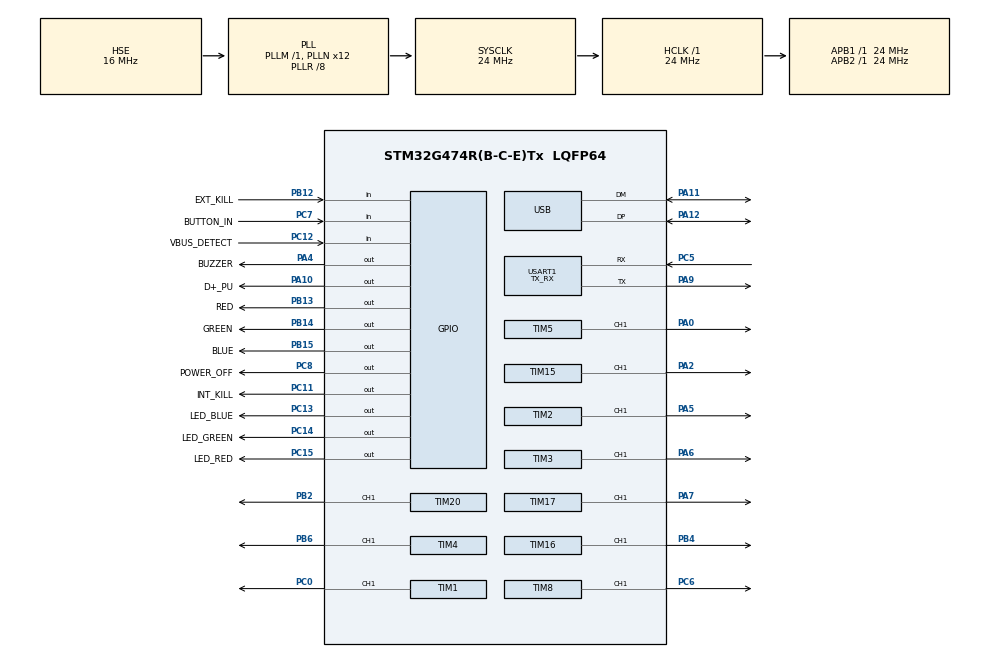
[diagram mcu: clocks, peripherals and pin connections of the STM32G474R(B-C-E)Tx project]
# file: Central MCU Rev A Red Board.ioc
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Mcu.Family=STM32G4
Mcu.Name=STM32G474R(B-C-E)Tx
Mcu.Package=LQFP64
NVIC.PriorityGroup=NVIC_PRIORITYGROUP_4
NVIC.TIM6_DAC_IRQn=true\:0\:0\:true\:false\:true\:true\:true\:true
NVIC.TIM7_DAC_IRQn=true\:1\:0\:true\:false\:true\:true\:true\:true
NVIC.USART1_IRQn=true\:2\:0\:true\:false\:true\:true\:true\:true
NVIC.USB_LP_IRQn=true\:0\:0\:false\:false\:true\:false\:true\:true
PA0.Signal=S_TIM5_CH1
PA10.GPIO_Label=D+_PU
PA10.Signal=GPIO_Output
PA11.Mode=Device
PA11.Signal=USB_DM
PA12.Mode=Device
PA12.Signal=USB_DP
PA13.Mode=Serial_Wire
PA13.Signal=SYS_JTMS-SWDIO
PA14.Mode=Serial_Wire
PA14.Signal=SYS_JTCK-SWCLK
PA2.Signal=S_TIM15_CH1
PA4.GPIO_Label=BUZZER
PA4.Signal=GPIO_Output
PA5.Signal=S_TIM2_CH1
PA6.Signal=S_TIM3_CH1
PA7.Signal=S_TIM17_CH1
PA9.Mode=Asynchronous
PA9.Signal=USART1_TX
PB12.GPIO_Label=EXT_KILL
PB12.GPIO_PuPd=GPIO_PULLDOWN
PB12.Signal=GPIO_Input
PB13.GPIO_Label=RED
PB13.Signal=GPIO_Output
PB14.GPIO_Label=GREEN
PB14.Signal=GPIO_Output
PB15.GPIO_Label=BLUE
PB15.Signal=GPIO_Output
PB2.Signal=S_TIM20_CH1
PB4.Signal=S_TIM16_CH1
PB6.Signal=S_TIM4_CH1
PC0.Signal=S_TIM1_CH1
PC11.GPIO_Label=INT_KILL
PC11.Signal=GPIO_Output
PC12.GPIO_Label=VBUS_DETECT
PC12.GPIO_PuPd=GPIO_PULLDOWN
PC12.Signal=GPIO_Input
PC13.GPIO_Label=LED_BLUE
PC13.Signal=GPIO_Output
PC14-OSC32_IN.GPIO_Label=LED_GREEN
PC14-OSC32_IN.Signal=GPIO_Output
PC15-OSC32_OUT.GPIO_Label=LED_RED
PC15-OSC32_OUT.Signal=GPIO_Output
PC5.Mode=Asynchronous
PC5.Signal=USART1_RX
PC6.Signal=S_TIM8_CH1
PC7.GPIO_Label=BUTTON_IN
PC7.GPIO_PuPd=GPIO_PULLUP
PC7.Signal=GPIO_Input
PC8.GPIO_Label=POWER_OFF
PC8.Signal=GPIO_Output
PF0-OSC_IN.Mode=HSE-External-Oscillator
PF0-OSC_IN.Signal=RCC_OSC_IN
PF1-OSC_OUT.Mode=HSE-External-Oscillator
PF1-OSC_OUT.Signal=RCC_OSC_OUT
ProjectManager.HeapSize=0x200
ProjectManager.StackSize=0x400
ProjectManager.TargetToolchain=STM32CubeIDE
RCC.ADC12Freq_Value=24000000
RCC.ADC345Freq_Value=24000000
RCC.AHBFreq_Value=24000000
RCC.APB1Freq_Value=24000000
RCC.APB1TimFreq_Value=24000000
RCC.APB2Freq_Value=24000000
RCC.APB2TimFreq_Value=24000000
RCC.CortexFreq_Value=24000000
RCC.EXTERNAL_CLOCK_VALUE=12288000
RCC.HCLKFreq_Value=24000000
RCC.HSE_VALUE=16000000
RCC.HSI48_VALUE=48000000
RCC.HSI_VALUE=16000000
RCC.LSE_VALUE=32768
RCC.PLLN=12
RCC.PLLQ=RCC_PLLQ_DIV4
RCC.PLLR=RCC_PLLR_DIV8
RCC.PLLSourceVirtual=RCC_PLLSOURCE_HSE
RCC.SYSCLKFreq_VALUE=24000000
RCC.SYSCLKSource=RCC_SYSCLKSOURCE_PLLCLK
RCC.USBFreq_Value=48000000
RCC.VCOOutputFreq_Value=192000000
SH.S_TIM15_CH1.0=TIM15_CH1,PWM Generation1 CH1
SH.S_TIM16_CH1.0=TIM16_CH1,PWM Generation1 CH1
SH.S_TIM17_CH1.0=TIM17_CH1,PWM Generation1 CH1
SH.S_TIM1_CH1.0=TIM1_CH1,PWM Generation1 CH1
SH.S_TIM20_CH1.0=TIM20_CH1,PWM Generation1 CH1
SH.S_TIM2_CH1.0=TIM2_CH1,PWM Generation1 CH1
SH.S_TIM3_CH1.0=TIM3_CH1,PWM Generation1 CH1
SH.S_TIM4_CH1.0=TIM4_CH1,PWM Generation1 CH1
SH.S_TIM5_CH1.0=TIM5_CH1,PWM Generation1 CH1
SH.S_TIM8_CH1.0=TIM8_CH1,PWM Generation1 CH1
TIM1.AutoReloadPreload=TIM_AUTORELOAD_PRELOAD_ENABLE
TIM1.Channel-PWM\ Generation1\ CH1=TIM_CHANNEL_1
TIM15.AutoReloadPreload=TIM_AUTORELOAD_PRELOAD_ENABLE
TIM15.Channel-PWM\ Generation1\ CH1=TIM_CHANNEL_1
TIM16.AutoReloadPreload=TIM_AUTORELOAD_PRELOAD_ENABLE
TIM16.Channel=TIM_CHANNEL_1
TIM17.AutoReloadPreload=TIM_AUTORELOAD_PRELOAD_ENABLE
TIM17.Channel=TIM_CHANNEL_1
TIM2.AutoReloadPreload=TIM_AUTORELOAD_PRELOAD_ENABLE
TIM2.Channel-PWM\ Generation1\ CH1=TIM_CHANNEL_1
TIM2.PeriodNoDither=65535
TIM20.AutoReloadPreload=TIM_AUTORELOAD_PRELOAD_ENABLE
TIM20.Channel-PWM\ Generation1\ CH1=TIM_CHANNEL_1
TIM3.AutoReloadPreload=TIM_AUTORELOAD_PRELOAD_ENABLE
TIM3.Channel-PWM\ Generation1\ CH1=TIM_CHANNEL_1
TIM4.AutoReloadPreload=TIM_AUTORELOAD_PRELOAD_ENABLE
TIM4.Channel-PWM\ Generation1\ CH1=TIM_CHANNEL_1
TIM5.AutoReloadPreload=TIM_AUTORELOAD_PRELOAD_ENABLE
TIM5.Channel-PWM\ Generation1\ CH1=TIM_CHANNEL_1
TIM5.PeriodNoDither=65535
TIM6.Prescaler=900
TIM7.Prescaler=850
TIM8.AutoReloadPreload=TIM_AUTORELOAD_PRELOAD_ENABLE
TIM8.Channel-PWM\ Generation1\ CH1=TIM_CHANNEL_1
USART1.Mode=MODE_TX_RX
USART1.VirtualMode-Asynchronous=VM_ASYNC
USB.lpm_enable=DISABLE
USB_DEVICE.CLASS_NAME_FS=CDC
USB_DEVICE.VirtualMode=Cdc
USB_DEVICE.VirtualModeFS=Cdc_FS
VP_SYS_VS_DBSignals.Mode=DisableDeadBatterySignals
VP_TIM16_VS_ClockSourceINT.Mode=Enable_Timer
VP_TIM17_VS_ClockSourceINT.Mode=Enable_Timer
VP_TIM6_VS_ClockSourceINT.Mode=Enable_Timer
VP_TIM7_VS_ClockSourceINT.Mode=Enable_Timer
VP_USB_DEVICE_VS_USB_DEVICE_CDC_FS.Mode=CDC_FS
board=custom

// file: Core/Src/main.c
/* USER CODE BEGIN Header */
/**
  ******************************************************************************
  * @file           : main.c
  * @brief          : Main program body
  ******************************************************************************
  * @attention
  *
  * Copyright (c) 2024 STMicroelectronics.
  * All rights reserved.
  *
  * This software is licensed under terms that can be found in the LICENSE file
  * in the root directory of this software component.
  * If no LICENSE file comes with this software, it is provided AS-IS.
  *
  ******************************************************************************
  */
/* USER CODE END Header */
#include "main.h"
#include "usb_device.h"

/* USER CODE BEGIN Includes */
#include "usbd_cdc_if.h"
/* USER CODE END Includes */

/* USER CODE BEGIN PD */
void Set_TIM_Compare(TIM_HandleTypeDef *htim, int32_t receivedVal);
/* USER CODE END PD */

TIM_HandleTypeDef htim1;
TIM_HandleTypeDef htim2;
TIM_HandleTypeDef htim3;
TIM_HandleTypeDef htim4;
TIM_HandleTypeDef htim5;
TIM_HandleTypeDef htim6;
TIM_HandleTypeDef htim7;
TIM_HandleTypeDef htim8;
TIM_HandleTypeDef htim15;
TIM_HandleTypeDef htim16;
TIM_HandleTypeDef htim17;
TIM_HandleTypeDef htim20;

UART_HandleTypeDef huart1;

/* USER CODE BEGIN PV */
uint8_t usb_tx_buffer[] = "Hello, USB!\r\n";

uint8_t redString[] = "red\r\n";

int32_t usbBuffer[16];

uint8_t intKillState = 0;
uint8_t extKillState = 0;
uint8_t prevExtKillState = 0;
uint8_t prevIntKillState = 0;
uint8_t okayToRunMotorsYet = 1; // the esc's need to get a 1500uS pulse for a few seconds, this variable is used to make sure that happens

uint16_t adcInt = 0;
uint8_t rx_data = 0;

uint8_t color = 'R';
uint8_t lockColor = 0;
uint8_t buttonPushedAlready = 0;
uint8_t buttonReleased = 0;
uint8_t buttonRepressed = 0;
uint8_t powerDown = 0;
uint8_t checkRedMode = 0;
uint8_t wentLowTime = 0;
uint8_t wentHighTime = 0;

/* USER CODE END PV */

void SystemClock_Config(void);
static void MX_GPIO_Init(void);
static void MX_TIM1_Init(void);
static void MX_TIM2_Init(void);
static void MX_TIM3_Init(void);
static void MX_TIM4_Init(void);
static void MX_TIM5_Init(void);
static void MX_TIM8_Init(void);
static void MX_TIM15_Init(void);
static void MX_TIM16_Init(void);
static void MX_TIM17_Init(void);
static void MX_TIM20_Init(void);
static void MX_USART1_UART_Init(void);
static void MX_TIM6_Init(void);
static void MX_TIM7_Init(void);

int main(void)
{

  /* MCU Configuration--------------------------------------------------------*/

  /* Reset of all peripherals, Initializes the Flash interface and the Systick. */
  HAL_Init();

  /* Configure the system clock */
  SystemClock_Config();

  /* Initialize all configured peripherals */
  MX_GPIO_Init();
  MX_TIM1_Init();
  MX_TIM2_Init();
  MX_TIM3_Init();
  MX_TIM4_Init();
  MX_TIM5_Init();
  MX_TIM8_Init();
  MX_TIM15_Init();
  MX_TIM16_Init();
  MX_TIM17_Init();
  MX_TIM20_Init();
  MX_USB_Device_Init();
  MX_USART1_UART_Init();
  MX_TIM6_Init();
  MX_TIM7_Init();
  /* USER CODE BEGIN 2 */

  HAL_GPIO_WritePin(GPIOC, LED_BLUE_Pin|LED_GREEN_Pin|LED_RED_Pin, GPIO_PIN_SET);

  HAL_TIM_Base_Start_IT(&htim6);

  HAL_TIM_PWM_Start(&htim1, TIM_CHANNEL_1);
  HAL_TIM_PWM_Start(&htim2, TIM_CHANNEL_1);
  HAL_TIM_PWM_Start(&htim3, TIM_CHANNEL_1);
  HAL_TIM_PWM_Start(&htim4, TIM_CHANNEL_1);
  HAL_TIM_PWM_Start(&htim5, TIM_CHANNEL_1);
  HAL_TIM_PWM_Start(&htim8, TIM_CHANNEL_1);
  HAL_TIM_PWM_Start(&htim15, TIM_CHANNEL_1);
  HAL_TIM_PWM_Start(&htim16, TIM_CHANNEL_1);
  HAL_TIM_PWM_Start(&htim17, TIM_CHANNEL_1);
  HAL_TIM_PWM_Start(&htim20, TIM_CHANNEL_1);

  __HAL_TIM_SET_COMPARE(&htim1, TIM_CHANNEL_1, 35999); // motor 0
  __HAL_TIM_SET_COMPARE(&htim2, TIM_CHANNEL_1, 35999);// motor 1
  __HAL_TIM_SET_COMPARE(&htim3, TIM_CHANNEL_1, 35999);// motor 2
  __HAL_TIM_SET_COMPARE(&htim4, TIM_CHANNEL_1, 35999);// motor 3
  __HAL_TIM_SET_COMPARE(&htim5, TIM_CHANNEL_1, 35999);// motor 4
  __HAL_TIM_SET_COMPARE(&htim8, TIM_CHANNEL_1, 35999); //grabber pwm, grabber isn't planned at this time
  __HAL_TIM_SET_COMPARE(&htim15, TIM_CHANNEL_1, 35999);// motor 5
  __HAL_TIM_SET_COMPARE(&htim16, TIM_CHANNEL_1, 35999);// motor 6
  __HAL_TIM_SET_COMPARE(&htim17, TIM_CHANNEL_1, 35999);// motor 7
  __HAL_TIM_SET_COMPARE(&htim20, TIM_CHANNEL_1, 35999);// torpedo pwm, torpedo hasn't been planned yet

  HAL_Delay(3000); // delay for 3 seconds since the ESC's need to calibrate themselves

  /* USER CODE END 2 */

  /* Infinite loop */
  /* USER CODE BEGIN WHILE */
  while (1)
  {

	  GPIO_PinState usbPresent = HAL_GPIO_ReadPin(GPIOC, VBUS_DETECT_Pin);

	  if (usbPresent){
		  HAL_GPIO_WritePin(GPIOC, LED_RED_Pin, GPIO_PIN_RESET);
		  HAL_GPIO_WritePin(GPIOA, D__PU_Pin, GPIO_PIN_SET);
	  }
	  else {
		  HAL_GPIO_WritePin(GPIOA, D__PU_Pin, GPIO_PIN_RESET);
		  HAL_GPIO_WritePin(GPIOC, LED_RED_Pin, GPIO_PIN_SET);
	  }
	    CDC_Transmit_FS((uint8_t *)usb_tx_buffer, sizeof(usb_tx_buffer) - 1);

	  /*
	  HAL_GPIO_WritePin(GPIOC, LED_RED_Pin, GPIO_PIN_RESET);
	  HAL_Delay(400);
	  HAL_GPIO_WritePin(GPIOC, LED_RED_Pin, GPIO_PIN_SET);
	  HAL_Delay(400);
	  */

	  if (okayToRunMotorsYet == 1){
	  Set_TIM_Compare(&htim1, usbBuffer[0]);
	  Set_TIM_Compare(&htim2, usbBuffer[1]);
	  Set_TIM_Compare(&htim3, usbBuffer[2]);
	  Set_TIM_Compare(&htim4, usbBuffer[3]);
	  Set_TIM_Compare(&htim5, usbBuffer[4]);
	  Set_TIM_Compare(&htim15, usbBuffer[5]);
	  Set_TIM_Compare(&htim16, usbBuffer[6]);
	  Set_TIM_Compare(&htim17, usbBuffer[7]);
	  }

	  if (usbBuffer[8] !=0){ // if the kill value isn't zero then set the internal kill pin high
		  HAL_GPIO_WritePin(GPIOC, INT_KILL_Pin, GPIO_PIN_SET);
		  intKillState = 1;
		  prevIntKillState = 1;
	  }

	  else {
		  HAL_GPIO_WritePin(GPIOC, INT_KILL_Pin, GPIO_PIN_RESET);
		  intKillState = 0;
	  }

	  if ((usbBuffer[9] == 1) || (powerDown == 1)){ // if the button or usb packet triggers power down then set power off pin high
		  HAL_GPIO_WritePin(GPIOC, POWER_OFF_Pin, GPIO_PIN_SET);
	  }

	  extKillState = HAL_GPIO_ReadPin(EXT_KILL_GPIO_Port, EXT_KILL_Pin);

	  if  ((extKillState == 1) && (prevExtKillState == 0)){
		  prevExtKillState = 1;

		  // if the ext kill state is high then set the motor values to zero
		  //so that hopefully the motors don't immediately spin after kill magnet is replaced.

		  for (uint8_t i = 0; i < 8; i++) {
		      usbBuffer[i] = 0;
		  }
		  // fixme send usb data telling computer the sub is supposed to be killed so that the motors don't continue running after un-killing
	  }

	  if (((prevExtKillState == 1) && (extKillState == 0) && (intKillState == 0)) || ((intKillState == 0) && (prevIntKillState == 1) && (extKillState == 0))){
		  	  // if we were killed before and now we aren't and neither of the kills are triggered anymore then calibrate the ESC's
		  prevExtKillState = 0;
		  prevIntKillState = 0;
		  okayToRunMotorsYet = 0;

		  __HAL_TIM_SET_COMPARE(&htim1, TIM_CHANNEL_1, 35999); // set all motors to 1500uS so they can be calibrated after being re-powered
		  __HAL_TIM_SET_COMPARE(&htim2, TIM_CHANNEL_1, 35999);
		  __HAL_TIM_SET_COMPARE(&htim3, TIM_CHANNEL_1, 35999);
		  __HAL_TIM_SET_COMPARE(&htim4, TIM_CHANNEL_1, 35999);
		  __HAL_TIM_SET_COMPARE(&htim5, TIM_CHANNEL_1, 35999);
		  __HAL_TIM_SET_COMPARE(&htim15, TIM_CHANNEL_1, 35999);
		  __HAL_TIM_SET_COMPARE(&htim16, TIM_CHANNEL_1, 35999);
		  __HAL_TIM_SET_COMPARE(&htim17, TIM_CHANNEL_1, 35999);

	  	  	__HAL_TIM_CLEAR_FLAG(&htim7, TIM_FLAG_UPDATE);
	    	  __HAL_TIM_SET_COUNTER(&htim7, 0);
	  	    HAL_TIM_Base_Start_IT(&htim7); // start 3 second timer to calibrate ESC's
	  }

/*
	    char ascii_str[6];  // Buffer to hold the ASCII string (enough to store 4 digits + null terminator)

	    sprintf(ascii_str, "%d", tempData);

	    CDC_Transmit_FS((uint8_t *)ascii_str, sizeof(ascii_str) - 1);

  //    CDC_Transmit_FS(usb_tx_buffer, sizeof(usb_tx_buffer) - 1);

	    sprintf(ascii_str, "%d", rx_data);

	    CDC_Transmit_FS((uint8_t *)ascii_str, sizeof(ascii_str) - 1);

*/

	      GPIO_PinState buttonState = HAL_GPIO_ReadPin(GPIOC, BUTTON_IN_Pin); // read the button status

	      if (buttonState == GPIO_PIN_RESET && (buttonPushedAlready == 0)) // if the button gets pulled low (pushed) and it wasn't pulled low on the previous cycle
	  {
	    	  wentLowTime = HAL_GetTick();
	    	  lockColor = 1; // lock the current led color so that we can blink it repeatedly
	    	  buttonPushedAlready = 1; // this lets us know the button it already pushed so it doesn't get stuck if the button is held down

	    	  if (color == 'G'){ // if the red led is on, the 'G' is confusing but this is what the color variable gets set to when the red led is on

	    		  /*we will use red to turn the sub off.
	    		   * The red led will flash slowly and the user will have to push it a
	    		   * second time in order to avoid accidentally powering the sub off
	    		   */

	    		  __HAL_TIM_SET_AUTORELOAD(&htim6, 7500); // give a longer period for the red led
	    		  checkRedMode = 1; // enter checkRedMode (we check for the second button push)
	    	  }
	    	  else {

	    		  if (color == 'B'){ // happens when the actual led is green

		    		  CDC_Transmit_FS((uint8_t *)"Green\r\n", 7);
		    		  // fix me transmit something over USB so software can know we want to enter autonomous mode or whatever
	    		  }
	    		  else if (color == 'R'){ // happens when the actual led is Blue
		    		  CDC_Transmit_FS((uint8_t *)"Blue\r\n", 6);
		    		  // fix me transmit something over USB so software can know we want to enter autonomous mode or whatever
	    		  }
	    	  __HAL_TIM_SET_AUTORELOAD(&htim6, 2000); // for non red colors we blink the leds faster
	    	  }
	    	  __HAL_TIM_SET_COUNTER(&htim6, __HAL_TIM_GET_AUTORELOAD(&htim6) - 1); // force the previous timer to overflow, otherwise the led might stay on for a bit before the blink starts
	  }

	      else if ((buttonPushedAlready == 1) && (buttonState == GPIO_PIN_SET) && ((HAL_GetTick() - wentLowTime) > 200)){
	    	  wentHighTime = HAL_GetTick();
	    	  buttonReleased = 1; // we know the button was released
	      }

	      if ((checkRedMode == 1) && (buttonReleased == 1) && (buttonState == GPIO_PIN_RESET) && ((HAL_GetTick() - wentHighTime) > 200)){
	    	  powerDown = 1; // power down if the red led is flashing and gets pressed a second time
    		  //CDC_Transmit_FS((uint8_t *)"Power Off\r\n", 11);
	    	  // note that switch bounce is an issue with a standard push button. Hopefully the piezo button won't have any issues
	      }

    /* USER CODE END WHILE */

  }
}

void SystemClock_Config(void)
{
  RCC_OscInitTypeDef RCC_OscInitStruct = {0};
  RCC_ClkInitTypeDef RCC_ClkInitStruct = {0};

  /** Configure the main internal regulator output voltage
  */
  HAL_PWREx_ControlVoltageScaling(PWR_REGULATOR_VOLTAGE_SCALE1);

  /** Initializes the RCC Oscillators according to the specified parameters
  * in the RCC_OscInitTypeDef structure.
  */
  RCC_OscInitStruct.OscillatorType = RCC_OSCILLATORTYPE_HSE;
  RCC_OscInitStruct.HSEState = RCC_HSE_ON;
  RCC_OscInitStruct.PLL.PLLState = RCC_PLL_ON;
  RCC_OscInitStruct.PLL.PLLSource = RCC_PLLSOURCE_HSE;
  RCC_OscInitStruct.PLL.PLLM = RCC_PLLM_DIV1;
  RCC_OscInitStruct.PLL.PLLN = 12;
  RCC_OscInitStruct.PLL.PLLP = RCC_PLLP_DIV2;
  RCC_OscInitStruct.PLL.PLLQ = RCC_PLLQ_DIV4;
  RCC_OscInitStruct.PLL.PLLR = RCC_PLLR_DIV8;
  if (HAL_RCC_OscConfig(&RCC_OscInitStruct) != HAL_OK)
  {
    Error_Handler();
  }

  /** Initializes the CPU, AHB and APB buses clocks
  */
  RCC_ClkInitStruct.ClockType = RCC_CLOCKTYPE_HCLK|RCC_CLOCKTYPE_SYSCLK
                              |RCC_CLOCKTYPE_PCLK1|RCC_CLOCKTYPE_PCLK2;
  RCC_ClkInitStruct.SYSCLKSource = RCC_SYSCLKSOURCE_PLLCLK;
  RCC_ClkInitStruct.AHBCLKDivider = RCC_SYSCLK_DIV1;
  RCC_ClkInitStruct.APB1CLKDivider = RCC_HCLK_DIV1;
  RCC_ClkInitStruct.APB2CLKDivider = RCC_HCLK_DIV1;

  if (HAL_RCC_ClockConfig(&RCC_ClkInitStruct, FLASH_LATENCY_0) != HAL_OK)
  {
    Error_Handler();
  }
}

static void MX_TIM1_Init(void)
{

  TIM_MasterConfigTypeDef sMasterConfig = {0};
  TIM_OC_InitTypeDef sConfigOC = {0};
  TIM_BreakDeadTimeConfigTypeDef sBreakDeadTimeConfig = {0};

  htim1.Instance = TIM1;
  htim1.Init.Prescaler = 0;
  htim1.Init.CounterMode = TIM_COUNTERMODE_UP;
  htim1.Init.Period = 65535;
  htim1.Init.ClockDivision = TIM_CLOCKDIVISION_DIV1;
  htim1.Init.RepetitionCounter = 0;
  htim1.Init.AutoReloadPreload = TIM_AUTORELOAD_PRELOAD_ENABLE;
  if (HAL_TIM_PWM_Init(&htim1) != HAL_OK)
  {
    Error_Handler();
  }
  sMasterConfig.MasterOutputTrigger = TIM_TRGO_RESET;
  sMasterConfig.MasterOutputTrigger2 = TIM_TRGO2_RESET;
  sMasterConfig.MasterSlaveMode = TIM_MASTERSLAVEMODE_DISABLE;
  if (HAL_TIMEx_MasterConfigSynchronization(&htim1, &sMasterConfig) != HAL_OK)
  {
    Error_Handler();
  }
  sConfigOC.OCMode = TIM_OCMODE_PWM1;
  sConfigOC.Pulse = 0;
  sConfigOC.OCPolarity = TIM_OCPOLARITY_HIGH;
  sConfigOC.OCNPolarity = TIM_OCNPOLARITY_HIGH;
  sConfigOC.OCFastMode = TIM_OCFAST_DISABLE;
  sConfigOC.OCIdleState = TIM_OCIDLESTATE_RESET;
  sConfigOC.OCNIdleState = TIM_OCNIDLESTATE_RESET;
  if (HAL_TIM_PWM_ConfigChannel(&htim1, &sConfigOC, TIM_CHANNEL_1) != HAL_OK)
  {
    Error_Handler();
  }
  sBreakDeadTimeConfig.OffStateRunMode = TIM_OSSR_DISABLE;
  sBreakDeadTimeConfig.OffStateIDLEMode = TIM_OSSI_DISABLE;
  sBreakDeadTimeConfig.LockLevel = TIM_LOCKLEVEL_OFF;
  sBreakDeadTimeConfig.DeadTime = 0;
  sBreakDeadTimeConfig.BreakState = TIM_BREAK_DISABLE;
  sBreakDeadTimeConfig.BreakPolarity = TIM_BREAKPOLARITY_HIGH;
  sBreakDeadTimeConfig.BreakFilter = 0;
  sBreakDeadTimeConfig.BreakAFMode = TIM_BREAK_AFMODE_INPUT;
  sBreakDeadTimeConfig.Break2State = TIM_BREAK2_DISABLE;
  sBreakDeadTimeConfig.Break2Polarity = TIM_BREAK2POLARITY_HIGH;
  sBreakDeadTimeConfig.Break2Filter = 0;
  sBreakDeadTimeConfig.Break2AFMode = TIM_BREAK_AFMODE_INPUT;
  sBreakDeadTimeConfig.AutomaticOutput = TIM_AUTOMATICOUTPUT_DISABLE;
  if (HAL_TIMEx_ConfigBreakDeadTime(&htim1, &sBreakDeadTimeConfig) != HAL_OK)
  {
    Error_Handler();
  }
  HAL_TIM_MspPostInit(&htim1);

}

static void MX_TIM2_Init(void)
{

  TIM_MasterConfigTypeDef sMasterConfig = {0};
  TIM_OC_InitTypeDef sConfigOC = {0};

  htim2.Instance = TIM2;
  htim2.Init.Prescaler = 0;
  htim2.Init.CounterMode = TIM_COUNTERMODE_UP;
  htim2.Init.Period = 65535;
  htim2.Init.ClockDivision = TIM_CLOCKDIVISION_DIV1;
  htim2.Init.AutoReloadPreload = TIM_AUTORELOAD_PRELOAD_ENABLE;
  if (HAL_TIM_PWM_Init(&htim2) != HAL_OK)
  {
    Error_Handler();
  }
  sMasterConfig.MasterOutputTrigger = TIM_TRGO_RESET;
  sMasterConfig.MasterSlaveMode = TIM_MASTERSLAVEMODE_DISABLE;
  if (HAL_TIMEx_MasterConfigSynchronization(&htim2, &sMasterConfig) != HAL_OK)
  {
    Error_Handler();
  }
  sConfigOC.OCMode = TIM_OCMODE_PWM1;
  sConfigOC.Pulse = 0;
  sConfigOC.OCPolarity = TIM_OCPOLARITY_HIGH;
  sConfigOC.OCFastMode = TIM_OCFAST_DISABLE;
  if (HAL_TIM_PWM_ConfigChannel(&htim2, &sConfigOC, TIM_CHANNEL_1) != HAL_OK)
  {
    Error_Handler();
  }
  HAL_TIM_MspPostInit(&htim2);

}

static void MX_TIM3_Init(void)
{

  TIM_MasterConfigTypeDef sMasterConfig = {0};
  TIM_OC_InitTypeDef sConfigOC = {0};

  htim3.Instance = TIM3;
  htim3.Init.Prescaler = 0;
  htim3.Init.CounterMode = TIM_COUNTERMODE_UP;
  htim3.Init.Period = 65535;
  htim3.Init.ClockDivision = TIM_CLOCKDIVISION_DIV1;
  htim3.Init.AutoReloadPreload = TIM_AUTORELOAD_PRELOAD_ENABLE;
  if (HAL_TIM_PWM_Init(&htim3) != HAL_OK)
  {
    Error_Handler();
  }
  sMasterConfig.MasterOutputTrigger = TIM_TRGO_RESET;
  sMasterConfig.MasterSlaveMode = TIM_MASTERSLAVEMODE_DISABLE;
  if (HAL_TIMEx_MasterConfigSynchronization(&htim3, &sMasterConfig) != HAL_OK)
  {
    Error_Handler();
  }
  sConfigOC.OCMode = TIM_OCMODE_PWM1;
  sConfigOC.Pulse = 0;
  sConfigOC.OCPolarity = TIM_OCPOLARITY_HIGH;
  sConfigOC.OCFastMode = TIM_OCFAST_DISABLE;
  if (HAL_TIM_PWM_ConfigChannel(&htim3, &sConfigOC, TIM_CHANNEL_1) != HAL_OK)
  {
    Error_Handler();
  }
  HAL_TIM_MspPostInit(&htim3);

}

static void MX_TIM4_Init(void)
{

  TIM_MasterConfigTypeDef sMasterConfig = {0};
  TIM_OC_InitTypeDef sConfigOC = {0};

  htim4.Instance = TIM4;
  htim4.Init.Prescaler = 0;
  htim4.Init.CounterMode = TIM_COUNTERMODE_UP;
  htim4.Init.Period = 65535;
  htim4.Init.ClockDivision = TIM_CLOCKDIVISION_DIV1;
  htim4.Init.AutoReloadPreload = TIM_AUTORELOAD_PRELOAD_ENABLE;
  if (HAL_TIM_PWM_Init(&htim4) != HAL_OK)
  {
    Error_Handler();
  }
  sMasterConfig.MasterOutputTrigger = TIM_TRGO_RESET;
  sMasterConfig.MasterSlaveMode = TIM_MASTERSLAVEMODE_DISABLE;
  if (HAL_TIMEx_MasterConfigSynchronization(&htim4, &sMasterConfig) != HAL_OK)
  {
    Error_Handler();
  }
  sConfigOC.OCMode = TIM_OCMODE_PWM1;
  sConfigOC.Pulse = 0;
  sConfigOC.OCPolarity = TIM_OCPOLARITY_HIGH;
  sConfigOC.OCFastMode = TIM_OCFAST_DISABLE;
  if (HAL_TIM_PWM_ConfigChannel(&htim4, &sConfigOC, TIM_CHANNEL_1) != HAL_OK)
  {
    Error_Handler();
  }
  HAL_TIM_MspPostInit(&htim4);

}

static void MX_TIM5_Init(void)
{

  TIM_MasterConfigTypeDef sMasterConfig = {0};
  TIM_OC_InitTypeDef sConfigOC = {0};

  htim5.Instance = TIM5;
  htim5.Init.Prescaler = 0;
  htim5.Init.CounterMode = TIM_COUNTERMODE_UP;
  htim5.Init.Period = 65535;
  htim5.Init.ClockDivision = TIM_CLOCKDIVISION_DIV1;
  htim5.Init.AutoReloadPreload = TIM_AUTORELOAD_PRELOAD_ENABLE;
  if (HAL_TIM_PWM_Init(&htim5) != HAL_OK)
  {
    Error_Handler();
  }
  sMasterConfig.MasterOutputTrigger = TIM_TRGO_RESET;
  sMasterConfig.MasterSlaveMode = TIM_MASTERSLAVEMODE_DISABLE;
  if (HAL_TIMEx_MasterConfigSynchronization(&htim5, &sMasterConfig) != HAL_OK)
  {
    Error_Handler();
  }
  sConfigOC.OCMode = TIM_OCMODE_PWM1;
  sConfigOC.Pulse = 0;
  sConfigOC.OCPolarity = TIM_OCPOLARITY_HIGH;
  sConfigOC.OCFastMode = TIM_OCFAST_DISABLE;
  if (HAL_TIM_PWM_ConfigChannel(&htim5, &sConfigOC, TIM_CHANNEL_1) != HAL_OK)
  {
    Error_Handler();
  }
  HAL_TIM_MspPostInit(&htim5);

}

static void MX_TIM6_Init(void)
{

  TIM_MasterConfigTypeDef sMasterConfig = {0};

  htim6.Instance = TIM6;
  htim6.Init.Prescaler = 900;
  htim6.Init.CounterMode = TIM_COUNTERMODE_UP;
  htim6.Init.Period = 65535;
  htim6.Init.AutoReloadPreload = TIM_AUTORELOAD_PRELOAD_DISABLE;
  if (HAL_TIM_Base_Init(&htim6) != HAL_OK)
  {
    Error_Handler();
  }
  sMasterConfig.MasterOutputTrigger = TIM_TRGO_RESET;
  sMasterConfig.MasterSlaveMode = TIM_MASTERSLAVEMODE_DISABLE;
  if (HAL_TIMEx_MasterConfigSynchronization(&htim6, &sMasterConfig) != HAL_OK)
  {
    Error_Handler();
  }
  /* USER CODE BEGIN TIM6_Init 2 */
  // Enable the TIM6 interrupt

  HAL_NVIC_SetPriority(TIM6_DAC_IRQn, 0, 0);
  HAL_NVIC_EnableIRQ(TIM6_DAC_IRQn);
  /* USER CODE END TIM6_Init 2 */

}

static void MX_TIM7_Init(void)
{

  TIM_MasterConfigTypeDef sMasterConfig = {0};

  htim7.Instance = TIM7;
  htim7.Init.Prescaler = 850;
  htim7.Init.CounterMode = TIM_COUNTERMODE_UP;
  htim7.Init.Period = 65535;
  htim7.Init.AutoReloadPreload = TIM_AUTORELOAD_PRELOAD_DISABLE;
  if (HAL_TIM_Base_Init(&htim7) != HAL_OK)
  {
    Error_Handler();
  }
  sMasterConfig.MasterOutputTrigger = TIM_TRGO_RESET;
  sMasterConfig.MasterSlaveMode = TIM_MASTERSLAVEMODE_DISABLE;
  if (HAL_TIMEx_MasterConfigSynchronization(&htim7, &sMasterConfig) != HAL_OK)
  {
    Error_Handler();
  }

}

static void MX_TIM8_Init(void)
{

  TIM_MasterConfigTypeDef sMasterConfig = {0};
  TIM_OC_InitTypeDef sConfigOC = {0};
  TIM_BreakDeadTimeConfigTypeDef sBreakDeadTimeConfig = {0};

  htim8.Instance = TIM8;
  htim8.Init.Prescaler = 0;
  htim8.Init.CounterMode = TIM_COUNTERMODE_UP;
  htim8.Init.Period = 65535;
  htim8.Init.ClockDivision = TIM_CLOCKDIVISION_DIV1;
  htim8.Init.RepetitionCounter = 0;
  htim8.Init.AutoReloadPreload = TIM_AUTORELOAD_PRELOAD_ENABLE;
  if (HAL_TIM_PWM_Init(&htim8) != HAL_OK)
  {
    Error_Handler();
  }
  sMasterConfig.MasterOutputTrigger = TIM_TRGO_RESET;
  sMasterConfig.MasterOutputTrigger2 = TIM_TRGO2_RESET;
  sMasterConfig.MasterSlaveMode = TIM_MASTERSLAVEMODE_DISABLE;
  if (HAL_TIMEx_MasterConfigSynchronization(&htim8, &sMasterConfig) != HAL_OK)
  {
    Error_Handler();
  }
  sConfigOC.OCMode = TIM_OCMODE_PWM1;
  sConfigOC.Pulse = 0;
  sConfigOC.OCPolarity = TIM_OCPOLARITY_HIGH;
  sConfigOC.OCNPolarity = TIM_OCNPOLARITY_HIGH;
  sConfigOC.OCFastMode = TIM_OCFAST_DISABLE;
  sConfigOC.OCIdleState = TIM_OCIDLESTATE_RESET;
  sConfigOC.OCNIdleState = TIM_OCNIDLESTATE_RESET;
  if (HAL_TIM_PWM_ConfigChannel(&htim8, &sConfigOC, TIM_CHANNEL_1) != HAL_OK)
  {
    Error_Handler();
  }
  sBreakDeadTimeConfig.OffStateRunMode = TIM_OSSR_DISABLE;
  sBreakDeadTimeConfig.OffStateIDLEMode = TIM_OSSI_DISABLE;
  sBreakDeadTimeConfig.LockLevel = TIM_LOCKLEVEL_OFF;
  sBreakDeadTimeConfig.DeadTime = 0;
  sBreakDeadTimeConfig.BreakState = TIM_BREAK_DISABLE;
  sBreakDeadTimeConfig.BreakPolarity = TIM_BREAKPOLARITY_HIGH;
  sBreakDeadTimeConfig.BreakFilter = 0;
  sBreakDeadTimeConfig.BreakAFMode = TIM_BREAK_AFMODE_INPUT;
  sBreakDeadTimeConfig.Break2State = TIM_BREAK2_DISABLE;
  sBreakDeadTimeConfig.Break2Polarity = TIM_BREAK2POLARITY_HIGH;
  sBreakDeadTimeConfig.Break2Filter = 0;
  sBreakDeadTimeConfig.Break2AFMode = TIM_BREAK_AFMODE_INPUT;
  sBreakDeadTimeConfig.AutomaticOutput = TIM_AUTOMATICOUTPUT_DISABLE;
  if (HAL_TIMEx_ConfigBreakDeadTime(&htim8, &sBreakDeadTimeConfig) != HAL_OK)
  {
    Error_Handler();
  }
  HAL_TIM_MspPostInit(&htim8);

}

static void MX_TIM15_Init(void)
{

  TIM_MasterConfigTypeDef sMasterConfig = {0};
  TIM_OC_InitTypeDef sConfigOC = {0};
  TIM_BreakDeadTimeConfigTypeDef sBreakDeadTimeConfig = {0};

  htim15.Instance = TIM15;
  htim15.Init.Prescaler = 0;
  htim15.Init.CounterMode = TIM_COUNTERMODE_UP;
  htim15.Init.Period = 65535;
  htim15.Init.ClockDivision = TIM_CLOCKDIVISION_DIV1;
  htim15.Init.RepetitionCounter = 0;
  htim15.Init.AutoReloadPreload = TIM_AUTORELOAD_PRELOAD_ENABLE;
  if (HAL_TIM_PWM_Init(&htim15) != HAL_OK)
  {
    Error_Handler();
  }
  sMasterConfig.MasterOutputTrigger = TIM_TRGO_RESET;
  sMasterConfig.MasterSlaveMode = TIM_MASTERSLAVEMODE_DISABLE;
  if (HAL_TIMEx_MasterConfigSynchronization(&htim15, &sMasterConfig) != HAL_OK)
  {
    Error_Handler();
  }
  sConfigOC.OCMode = TIM_OCMODE_PWM1;
  sConfigOC.Pulse = 0;
  sConfigOC.OCPolarity = TIM_OCPOLARITY_HIGH;
  sConfigOC.OCNPolarity = TIM_OCNPOLARITY_HIGH;
  sConfigOC.OCFastMode = TIM_OCFAST_DISABLE;
  sConfigOC.OCIdleState = TIM_OCIDLESTATE_RESET;
  sConfigOC.OCNIdleState = TIM_OCNIDLESTATE_RESET;
  if (HAL_TIM_PWM_ConfigChannel(&htim15, &sConfigOC, TIM_CHANNEL_1) != HAL_OK)
  {
    Error_Handler();
  }
  sBreakDeadTimeConfig.OffStateRunMode = TIM_OSSR_DISABLE;
  sBreakDeadTimeConfig.OffStateIDLEMode = TIM_OSSI_DISABLE;
  sBreakDeadTimeConfig.LockLevel = TIM_LOCKLEVEL_OFF;
  sBreakDeadTimeConfig.DeadTime = 0;
  sBreakDeadTimeConfig.BreakState = TIM_BREAK_DISABLE;
  sBreakDeadTimeConfig.BreakPolarity = TIM_BREAKPOLARITY_HIGH;
  sBreakDeadTimeConfig.BreakFilter = 0;
  sBreakDeadTimeConfig.AutomaticOutput = TIM_AUTOMATICOUTPUT_DISABLE;
  if (HAL_TIMEx_ConfigBreakDeadTime(&htim15, &sBreakDeadTimeConfig) != HAL_OK)
  {
    Error_Handler();
  }
  HAL_TIM_MspPostInit(&htim15);

}

static void MX_TIM16_Init(void)
{

  TIM_OC_InitTypeDef sConfigOC = {0};
  TIM_BreakDeadTimeConfigTypeDef sBreakDeadTimeConfig = {0};

  htim16.Instance = TIM16;
  htim16.Init.Prescaler = 0;
  htim16.Init.CounterMode = TIM_COUNTERMODE_UP;
  htim16.Init.Period = 65535;
  htim16.Init.ClockDivision = TIM_CLOCKDIVISION_DIV1;
  htim16.Init.RepetitionCounter = 0;
  htim16.Init.AutoReloadPreload = TIM_AUTORELOAD_PRELOAD_ENABLE;
  if (HAL_TIM_Base_Init(&htim16) != HAL_OK)
  {
    Error_Handler();
  }
  if (HAL_TIM_PWM_Init(&htim16) != HAL_OK)
  {
    Error_Handler();
  }
  sConfigOC.OCMode = TIM_OCMODE_PWM1;
  sConfigOC.Pulse = 0;
  sConfigOC.OCPolarity = TIM_OCPOLARITY_HIGH;
  sConfigOC.OCNPolarity = TIM_OCNPOLARITY_HIGH;
  sConfigOC.OCFastMode = TIM_OCFAST_DISABLE;
  sConfigOC.OCIdleState = TIM_OCIDLESTATE_RESET;
  sConfigOC.OCNIdleState = TIM_OCNIDLESTATE_RESET;
  if (HAL_TIM_PWM_ConfigChannel(&htim16, &sConfigOC, TIM_CHANNEL_1) != HAL_OK)
  {
    Error_Handler();
  }
  sBreakDeadTimeConfig.OffStateRunMode = TIM_OSSR_DISABLE;
  sBreakDeadTimeConfig.OffStateIDLEMode = TIM_OSSI_DISABLE;
  sBreakDeadTimeConfig.LockLevel = TIM_LOCKLEVEL_OFF;
  sBreakDeadTimeConfig.DeadTime = 0;
  sBreakDeadTimeConfig.BreakState = TIM_BREAK_DISABLE;
  sBreakDeadTimeConfig.BreakPolarity = TIM_BREAKPOLARITY_HIGH;
  sBreakDeadTimeConfig.BreakFilter = 0;
  sBreakDeadTimeConfig.AutomaticOutput = TIM_AUTOMATICOUTPUT_DISABLE;
  if (HAL_TIMEx_ConfigBreakDeadTime(&htim16, &sBreakDeadTimeConfig) != HAL_OK)
  {
    Error_Handler();
  }
  HAL_TIM_MspPostInit(&htim16);

}

static void MX_TIM17_Init(void)
{

  TIM_OC_InitTypeDef sConfigOC = {0};
  TIM_BreakDeadTimeConfigTypeDef sBreakDeadTimeConfig = {0};

  htim17.Instance = TIM17;
  htim17.Init.Prescaler = 0;
  htim17.Init.CounterMode = TIM_COUNTERMODE_UP;
  htim17.Init.Period = 65535;
  htim17.Init.ClockDivision = TIM_CLOCKDIVISION_DIV1;
  htim17.Init.RepetitionCounter = 0;
  htim17.Init.AutoReloadPreload = TIM_AUTORELOAD_PRELOAD_ENABLE;
  if (HAL_TIM_Base_Init(&htim17) != HAL_OK)
  {
    Error_Handler();
  }
  if (HAL_TIM_PWM_Init(&htim17) != HAL_OK)
  {
    Error_Handler();
  }
  sConfigOC.OCMode = TIM_OCMODE_PWM1;
  sConfigOC.Pulse = 0;
  sConfigOC.OCPolarity = TIM_OCPOLARITY_HIGH;
  sConfigOC.OCNPolarity = TIM_OCNPOLARITY_HIGH;
  sConfigOC.OCFastMode = TIM_OCFAST_DISABLE;
  sConfigOC.OCIdleState = TIM_OCIDLESTATE_RESET;
  sConfigOC.OCNIdleState = TIM_OCNIDLESTATE_RESET;
  if (HAL_TIM_PWM_ConfigChannel(&htim17, &sConfigOC, TIM_CHANNEL_1) != HAL_OK)
  {
    Error_Handler();
  }
  sBreakDeadTimeConfig.OffStateRunMode = TIM_OSSR_DISABLE;
  sBreakDeadTimeConfig.OffStateIDLEMode = TIM_OSSI_DISABLE;
  sBreakDeadTimeConfig.LockLevel = TIM_LOCKLEVEL_OFF;
  sBreakDeadTimeConfig.DeadTime = 0;
  sBreakDeadTimeConfig.BreakState = TIM_BREAK_DISABLE;
  sBreakDeadTimeConfig.BreakPolarity = TIM_BREAKPOLARITY_HIGH;
  sBreakDeadTimeConfig.BreakFilter = 0;
  sBreakDeadTimeConfig.AutomaticOutput = TIM_AUTOMATICOUTPUT_DISABLE;
  if (HAL_TIMEx_ConfigBreakDeadTime(&htim17, &sBreakDeadTimeConfig) != HAL_OK)
  {
    Error_Handler();
  }
  HAL_TIM_MspPostInit(&htim17);

}

static void MX_TIM20_Init(void)
{

  TIM_MasterConfigTypeDef sMasterConfig = {0};
  TIM_OC_InitTypeDef sConfigOC = {0};
  TIM_BreakDeadTimeConfigTypeDef sBreakDeadTimeConfig = {0};

  htim20.Instance = TIM20;
  htim20.Init.Prescaler = 0;
  htim20.Init.CounterMode = TIM_COUNTERMODE_UP;
  htim20.Init.Period = 65535;
  htim20.Init.ClockDivision = TIM_CLOCKDIVISION_DIV1;
  htim20.Init.RepetitionCounter = 0;
  htim20.Init.AutoReloadPreload = TIM_AUTORELOAD_PRELOAD_ENABLE;
  if (HAL_TIM_PWM_Init(&htim20) != HAL_OK)
  {
    Error_Handler();
  }
  sMasterConfig.MasterOutputTrigger = TIM_TRGO_RESET;
  sMasterConfig.MasterOutputTrigger2 = TIM_TRGO2_RESET;
  sMasterConfig.MasterSlaveMode = TIM_MASTERSLAVEMODE_DISABLE;
  if (HAL_TIMEx_MasterConfigSynchronization(&htim20, &sMasterConfig) != HAL_OK)
  {
    Error_Handler();
  }
  sConfigOC.OCMode = TIM_OCMODE_PWM1;
  sConfigOC.Pulse = 0;
  sConfigOC.OCPolarity = TIM_OCPOLARITY_HIGH;
  sConfigOC.OCNPolarity = TIM_OCNPOLARITY_HIGH;
  sConfigOC.OCFastMode = TIM_OCFAST_DISABLE;
  sConfigOC.OCIdleState = TIM_OCIDLESTATE_RESET;
  sConfigOC.OCNIdleState = TIM_OCNIDLESTATE_RESET;
  if (HAL_TIM_PWM_ConfigChannel(&htim20, &sConfigOC, TIM_CHANNEL_1) != HAL_OK)
  {
    Error_Handler();
  }
  sBreakDeadTimeConfig.OffStateRunMode = TIM_OSSR_DISABLE;
  sBreakDeadTimeConfig.OffStateIDLEMode = TIM_OSSI_DISABLE;
  sBreakDeadTimeConfig.LockLevel = TIM_LOCKLEVEL_OFF;
  sBreakDeadTimeConfig.DeadTime = 0;
  sBreakDeadTimeConfig.BreakState = TIM_BREAK_DISABLE;
  sBreakDeadTimeConfig.BreakPolarity = TIM_BREAKPOLARITY_HIGH;
  sBreakDeadTimeConfig.BreakFilter = 0;
  sBreakDeadTimeConfig.BreakAFMode = TIM_BREAK_AFMODE_INPUT;
  sBreakDeadTimeConfig.Break2State = TIM_BREAK2_DISABLE;
  sBreakDeadTimeConfig.Break2Polarity = TIM_BREAK2POLARITY_HIGH;
  sBreakDeadTimeConfig.Break2Filter = 0;
  sBreakDeadTimeConfig.Break2AFMode = TIM_BREAK_AFMODE_INPUT;
  sBreakDeadTimeConfig.AutomaticOutput = TIM_AUTOMATICOUTPUT_DISABLE;
  if (HAL_TIMEx_ConfigBreakDeadTime(&htim20, &sBreakDeadTimeConfig) != HAL_OK)
  {
    Error_Handler();
  }
  HAL_TIM_MspPostInit(&htim20);

}

static void MX_USART1_UART_Init(void)
{

  huart1.Instance = USART1;
  huart1.Init.BaudRate = 115200;
  huart1.Init.WordLength = UART_WORDLENGTH_8B;
  huart1.Init.StopBits = UART_STOPBITS_1;
  huart1.Init.Parity = UART_PARITY_NONE;
  huart1.Init.Mode = UART_MODE_TX_RX;
  huart1.Init.HwFlowCtl = UART_HWCONTROL_NONE;
  huart1.Init.OverSampling = UART_OVERSAMPLING_16;
  huart1.Init.OneBitSampling = UART_ONE_BIT_SAMPLE_DISABLE;
  huart1.Init.ClockPrescaler = UART_PRESCALER_DIV1;
  huart1.AdvancedInit.AdvFeatureInit = UART_ADVFEATURE_NO_INIT;
  if (HAL_UART_Init(&huart1) != HAL_OK)
  {
    Error_Handler();
  }
  if (HAL_UARTEx_SetTxFifoThreshold(&huart1, UART_TXFIFO_THRESHOLD_1_8) != HAL_OK)
  {
    Error_Handler();
  }
  if (HAL_UARTEx_SetRxFifoThreshold(&huart1, UART_RXFIFO_THRESHOLD_1_8) != HAL_OK)
  {
    Error_Handler();
  }
  if (HAL_UARTEx_DisableFifoMode(&huart1) != HAL_OK)
  {
    Error_Handler();
  }

}

static void MX_GPIO_Init(void)
{
  GPIO_InitTypeDef GPIO_InitStruct = {0};

  /* GPIO Ports Clock Enable */
  __HAL_RCC_GPIOC_CLK_ENABLE();
  __HAL_RCC_GPIOF_CLK_ENABLE();
  __HAL_RCC_GPIOA_CLK_ENABLE();
  __HAL_RCC_GPIOB_CLK_ENABLE();

  /*Configure GPIO pin Output Level */
  HAL_GPIO_WritePin(GPIOC, LED_BLUE_Pin|LED_GREEN_Pin|LED_RED_Pin|POWER_OFF_Pin
                          |INT_KILL_Pin, GPIO_PIN_RESET);

  /*Configure GPIO pin Output Level */
  HAL_GPIO_WritePin(GPIOA, BUZZER_Pin|D__PU_Pin, GPIO_PIN_RESET);

  /*Configure GPIO pin Output Level */
  HAL_GPIO_WritePin(GPIOB, RED_Pin|GREEN_Pin|BLUE_Pin, GPIO_PIN_RESET);

  /*Configure GPIO pins : LED_BLUE_Pin LED_GREEN_Pin LED_RED_Pin POWER_OFF_Pin
                           INT_KILL_Pin */
  GPIO_InitStruct.Pin = LED_BLUE_Pin|LED_GREEN_Pin|LED_RED_Pin|POWER_OFF_Pin
                          |INT_KILL_Pin;
  GPIO_InitStruct.Mode = GPIO_MODE_OUTPUT_PP;
  GPIO_InitStruct.Pull = GPIO_NOPULL;
  GPIO_InitStruct.Speed = GPIO_SPEED_FREQ_LOW;
  HAL_GPIO_Init(GPIOC, &GPIO_InitStruct);

  /*Configure GPIO pins : BUZZER_Pin D__PU_Pin */
  GPIO_InitStruct.Pin = BUZZER_Pin|D__PU_Pin;
  GPIO_InitStruct.Mode = GPIO_MODE_OUTPUT_PP;
  GPIO_InitStruct.Pull = GPIO_NOPULL;
  GPIO_InitStruct.Speed = GPIO_SPEED_FREQ_LOW;
  HAL_GPIO_Init(GPIOA, &GPIO_InitStruct);

  /*Configure GPIO pin : EXT_KILL_Pin */
  GPIO_InitStruct.Pin = EXT_KILL_Pin;
  GPIO_InitStruct.Mode = GPIO_MODE_INPUT;
  GPIO_InitStruct.Pull = GPIO_PULLDOWN;
  HAL_GPIO_Init(EXT_KILL_GPIO_Port, &GPIO_InitStruct);

  /*Configure GPIO pins : RED_Pin GREEN_Pin BLUE_Pin */
  GPIO_InitStruct.Pin = RED_Pin|GREEN_Pin|BLUE_Pin;
  GPIO_InitStruct.Mode = GPIO_MODE_OUTPUT_PP;
  GPIO_InitStruct.Pull = GPIO_NOPULL;
  GPIO_InitStruct.Speed = GPIO_SPEED_FREQ_LOW;
  HAL_GPIO_Init(GPIOB, &GPIO_InitStruct);

  /*Configure GPIO pin : BUTTON_IN_Pin */
  GPIO_InitStruct.Pin = BUTTON_IN_Pin;
  GPIO_InitStruct.Mode = GPIO_MODE_INPUT;
  GPIO_InitStruct.Pull = GPIO_PULLUP;
  HAL_GPIO_Init(BUTTON_IN_GPIO_Port, &GPIO_InitStruct);

  /*Configure GPIO pin : VBUS_DETECT_Pin */
  GPIO_InitStruct.Pin = VBUS_DETECT_Pin;
  GPIO_InitStruct.Mode = GPIO_MODE_INPUT;
  GPIO_InitStruct.Pull = GPIO_PULLDOWN;
  HAL_GPIO_Init(VBUS_DETECT_GPIO_Port, &GPIO_InitStruct);

}

/* USER CODE BEGIN 4 */

void HAL_TIM_PeriodElapsedCallback(TIM_HandleTypeDef *htim){ // this interrupt gets called when a timer overflows

	if (htim->Instance == TIM7){
		okayToRunMotorsYet = 1;
		HAL_TIM_Base_Stop_IT(&htim7);
	}

	else if (htim->Instance == TIM6) { // check if the timer 6 was the one that overflowed

if (lockColor == 0){ // if the button hasn't been pushed then go ahead and change to the next color

	HAL_GPIO_WritePin(GPIOB, RED_Pin|GREEN_Pin|BLUE_Pin, GPIO_PIN_RESET); // turn off the previous led

    if (color == 'R'){ // 'R' stands for red
    	  HAL_GPIO_WritePin(GPIOB, RED_Pin, GPIO_PIN_SET); // turn on red led
    	  color = 'G'; // next color is green
    }

    else if (color == 'G'){ // 'G' stands for green
    	  HAL_GPIO_WritePin(GPIOB, GREEN_Pin, GPIO_PIN_SET); // turn on green led
    	  color = 'B'; // next color is blue
    }

    else if (color == 'B'){ // 'B' stands for blue
    	  HAL_GPIO_WritePin(GPIOB, BLUE_Pin, GPIO_PIN_SET); // turn on blue led
    	  color = 'R'; // next color is blue
    }
}

else{
    lockColor ++;

    if (color == 'G'){
    HAL_GPIO_TogglePin(GPIOB,  RED_Pin);
    }

    else if (color == 'B'){
    HAL_GPIO_TogglePin(GPIOB,  GREEN_Pin);
    }

    else if (color == 'R'){
    HAL_GPIO_TogglePin(GPIOB,  BLUE_Pin);
    }

    if (lockColor == 20){ // toggle whatever led was pressed this many times
    	lockColor = 0; // reset lock color so that we can change to the next color
    	checkRedMode = 0; // exit checkRedMode
    	buttonPushedAlready = 0; // reset this so that we can accept a new button input
    	buttonReleased = 0;
    	__HAL_TIM_SET_AUTORELOAD(&htim6, 65535); // set the timer period to something slower
    	__HAL_TIM_SET_COUNTER(&htim6, __HAL_TIM_GET_AUTORELOAD(&htim6) - 1); // force the timer to overflow so we don't have to wait for the previous led blink to finish

    }
    }
	}

}

void Set_TIM_Compare(TIM_HandleTypeDef *htim, int32_t receivedVal)
{
#define maxVal 8500
    if ((receivedVal == 0) || (intKillState == 1) || (extKillState == 1) || (receivedVal > maxVal) || (receivedVal < -maxVal))
    {
        __HAL_TIM_SET_COMPARE(htim, TIM_CHANNEL_1, 35999);
    }

    else if (receivedVal > 0)
    {
        __HAL_TIM_SET_COMPARE(htim, TIM_CHANNEL_1, 35999 + 750 + receivedVal);
    }

    else if (receivedVal < 0)
    {
        __HAL_TIM_SET_COMPARE(htim, TIM_CHANNEL_1, 35999 - 750 + receivedVal);
    }

}

void HAL_UART_RxCpltCallback(UART_HandleTypeDef *huart)
{
    if (huart->Instance == USART1)
    {
        // Process the received data (in rx_data)
        // Example: Echo the received byte back to the sender
      //  HAL_UART_Transmit(&huart1, &rx_data, 1, HAL_MAX_DELAY);

        // Restart UART reception in interrupt mode for the next byte
        HAL_UART_Receive_IT(&huart1, &rx_data, 1);
    }
}
/* USER CODE END 4 */

void Error_Handler(void)
{
  __disable_irq();
  while (1)
  {
  }
}
